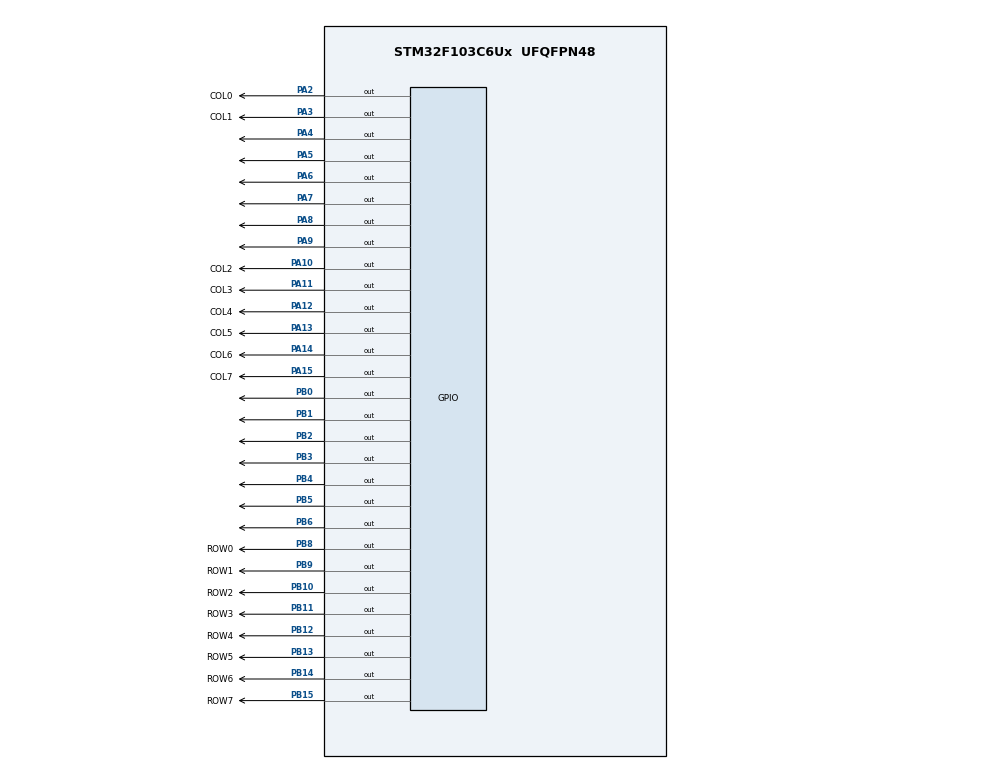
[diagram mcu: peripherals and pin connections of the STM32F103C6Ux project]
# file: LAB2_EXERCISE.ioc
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Mcu.Family=STM32F1
Mcu.Name=STM32F103C6Ux
Mcu.Package=UFQFPN48
NVIC.PriorityGroup=NVIC_PRIORITYGROUP_4
NVIC.TIM2_IRQn=true\:0\:0\:false\:false\:true\:true\:true
PA10.GPIO_Label=COL2
PA10.Signal=GPIO_Output
PA11.GPIO_Label=COL3
PA11.Signal=GPIO_Output
PA12.GPIO_Label=COL4
PA12.Signal=GPIO_Output
PA13.GPIO_Label=COL5
PA13.Signal=GPIO_Output
PA14.GPIO_Label=COL6
PA14.Signal=GPIO_Output
PA15.GPIO_Label=COL7
PA15.Signal=GPIO_Output
PA2.GPIO_Label=COL0
PA2.Signal=GPIO_Output
PA3.GPIO_Label=COL1
PA3.Signal=GPIO_Output
PA4.Signal=GPIO_Output
PA5.Signal=GPIO_Output
PA6.Signal=GPIO_Output
PA7.Signal=GPIO_Output
PA8.Signal=GPIO_Output
PA9.Signal=GPIO_Output
PB0.Signal=GPIO_Output
PB1.Signal=GPIO_Output
PB10.GPIO_Label=ROW2
PB10.Signal=GPIO_Output
PB11.GPIO_Label=ROW3
PB11.Signal=GPIO_Output
PB12.GPIO_Label=ROW4
PB12.Signal=GPIO_Output
PB13.GPIO_Label=ROW5
PB13.Signal=GPIO_Output
PB14.GPIO_Label=ROW6
PB14.Signal=GPIO_Output
PB15.GPIO_Label=ROW7
PB15.Signal=GPIO_Output
PB2.Signal=GPIO_Output
PB3.Signal=GPIO_Output
PB4.Signal=GPIO_Output
PB5.Signal=GPIO_Output
PB6.Signal=GPIO_Output
PB8.GPIO_Label=ROW0
PB8.Signal=GPIO_Output
PB9.GPIO_Label=ROW1
PB9.Signal=GPIO_Output
ProjectManager.HeapSize=0x200
ProjectManager.StackSize=0x400
ProjectManager.TargetToolchain=STM32CubeIDE
RCC.APB1Freq_Value=8000000
RCC.APB2Freq_Value=8000000
TIM2.Period=9
TIM2.Prescaler=7999
VP_SYS_VS_ND.Mode=No_Debug
VP_TIM2_VS_ClockSourceINT.Mode=Internal
board=custom

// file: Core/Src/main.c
/* USER CODE BEGIN Header */
/**
  ******************************************************************************
  * @file           : main.c
  * @brief          : Main program body
  ******************************************************************************
  * @attention
  *
  * <h2><center>&copy; Copyright (c) 2023 STMicroelectronics.
  * All rights reserved.</center></h2>
  *
  * This software component is licensed by ST under BSD 3-Clause license,
  * the "License"; You may not use this file except in compliance with the
  * License. You may obtain a copy of the License at:
  *                        opensource.org/licenses/BSD-3-Clause
  *
  ******************************************************************************
  */
/* USER CODE END Header */
#include "main.h"

/* USER CODE BEGIN Includes */
#include "7_SEGMENT_LED.h"
#include "software_timer.h"
/* USER CODE END Includes */

/* USER CODE BEGIN PD */
#define TIME 25
/* USER CODE END PD */

TIM_HandleTypeDef htim2;

void SystemClock_Config(void);
static void MX_TIM2_Init(void);
static void MX_GPIO_Init(void);
/* USER CODE BEGIN PFP */
void update7SEG(int index);
/* USER CODE END PFP */

/* USER CODE BEGIN 0 */
enum state_led {
	LED_1,
	LED_2,
	LED_3,
	LED_4
};
int hour = 15 , minute = 8 , second = 58;
const int MAX_LED = 4;
int index_led = 0;
int led_buffer[4] = {3,5,7,9};
void clear_all_segment(){
	HAL_GPIO_WritePin(GPIOA, GPIO_PIN_6, SET);
	HAL_GPIO_WritePin(GPIOA, GPIO_PIN_7, SET);
	HAL_GPIO_WritePin(GPIOA, GPIO_PIN_8, SET);
	HAL_GPIO_WritePin(GPIOA, GPIO_PIN_9, SET);
}
void update7SEG(int index){
	switch(index){
	case 0:
		HAL_GPIO_WritePin(GPIOA, GPIO_PIN_6, RESET);
		HAL_GPIO_WritePin(GPIOA, GPIO_PIN_7, SET);
		HAL_GPIO_WritePin(GPIOA, GPIO_PIN_8, SET);
		HAL_GPIO_WritePin(GPIOA, GPIO_PIN_9, SET);
		display7SEG(led_buffer[0]);
		break;
	case 1:
		HAL_GPIO_WritePin(GPIOA, GPIO_PIN_6, SET);
		HAL_GPIO_WritePin(GPIOA, GPIO_PIN_7, RESET);
		HAL_GPIO_WritePin(GPIOA, GPIO_PIN_8, SET);
		HAL_GPIO_WritePin(GPIOA, GPIO_PIN_9, SET);
		display7SEG(led_buffer[1]);
		break;
	case 2:
		HAL_GPIO_WritePin(GPIOA, GPIO_PIN_6, SET);
		HAL_GPIO_WritePin(GPIOA, GPIO_PIN_7, SET);
		HAL_GPIO_WritePin(GPIOA, GPIO_PIN_8, RESET);
		HAL_GPIO_WritePin(GPIOA, GPIO_PIN_9, SET);
		display7SEG(led_buffer[2]);
		break;
	case 3:
		HAL_GPIO_WritePin(GPIOA, GPIO_PIN_6, SET);
		HAL_GPIO_WritePin(GPIOA, GPIO_PIN_7, SET);
		HAL_GPIO_WritePin(GPIOA, GPIO_PIN_8, SET);
		HAL_GPIO_WritePin(GPIOA, GPIO_PIN_9, RESET);
		display7SEG(led_buffer[3]);
		break;
	}
}
void updateClockBufer(){
	led_buffer[0] = hour/10;
	led_buffer[1] = hour%10;
	led_buffer[2] = minute/10;
	led_buffer[3] = minute%10;
}

const int MAX_LED_MATRIX = 8;
int index_led_matrix = 0;
uint8_t matrix_buffer[] = {0x00, 0xff, 0xff, 0x18, 0x18, 0xff, 0xff, 0x00,   // H
							0x00, 0x7e, 0xff, 0x81, 0x81, 0xff, 0x7e, 0x00,  // O
							0x00, 0xfc, 0xfe, 0x33, 0x33, 0xfe, 0xfc, 0x00,  // A
							0x00, 0xff, 0x03, 0x0c, 0x30, 0xc0, 0xff, 0x00,  // N
							0x00, 0x7e, 0xff, 0x81, 0x81, 0x91, 0xf3, 0x73   // G
};
// INIT LED 8x8
struct led8x8* led;
// INIT lED 8x8

/* USER CODE END 0 */

int main(void)
{

  /* MCU Configuration--------------------------------------------------------*/

  /* Reset of all peripherals, Initializes the Flash interface and the Systick. */
  HAL_Init();

  /* Configure the system clock */
  SystemClock_Config();

  /* Initialize all configured peripherals */
  MX_TIM2_Init();
  MX_GPIO_Init();
  /* USER CODE BEGIN 2 */
  HAL_TIM_Base_Start_IT(&htim2);
  //enum state_led current_sate = LED_1;
  set_timer(TIME);
  set_timer_8(10);
  clear_all_segment();
  int toggle_counter = 5;
  //INIT 8x8 lED
  init_led8x8(led , COL0_Pin, COL1_Pin, COL2_Pin, COL3_Pin, COL4_Pin, COL5_Pin, COL6_Pin, COL7_Pin,
		  ROW0_Pin, ROW1_Pin, ROW2_Pin, ROW3_Pin, ROW4_Pin, ROW5_Pin, ROW6_Pin, ROW7_Pin,
		  GPIOA, GPIOB,
		  matrix_buffer,
		  sizeof(matrix_buffer)/sizeof(uint8_t));

  /* USER CODE END 2 */

  /* Infinite loop */
  /* USER CODE BEGIN WHILE */
  while (1)
  {
	  if(flag){
		  updateClockBufer();
		  set_timer(TIME);
		  update7SEG(index_led++);
		  index_led = index_led % 4;
		  toggle_counter--;
		  if(toggle_counter <= 0){
			  second++;
			  if(second >= 60){
				  second = 0;
				  minute++;
			  }
			  if(minute >= 60){
				  minute = 0;
				  hour++;
			  }
			  if(hour >= 24){
				  hour = 0;
			  }
			  HAL_GPIO_TogglePin(GPIOA , GPIO_PIN_4);
			  toggle_counter=4;
		  }
		  HAL_GPIO_TogglePin(GPIOA , GPIO_PIN_5);
	  }
	  if(flag_8){
		  updateLEDMatrix(led);
		  if(led->index_led_matrix >= MAX_LED_MATRIX){
			  led->index_led_matrix = 0;
			  updateCurBuffer(led);
		  }
		  set_timer_8(1);
	  }
    /* USER CODE END WHILE */

  }
}

void SystemClock_Config(void)
{
  RCC_OscInitTypeDef RCC_OscInitStruct = {0};
  RCC_ClkInitTypeDef RCC_ClkInitStruct = {0};

  /** Initializes the RCC Oscillators according to the specified parameters
  * in the RCC_OscInitTypeDef structure.
  */
  RCC_OscInitStruct.OscillatorType = RCC_OSCILLATORTYPE_HSI;
  RCC_OscInitStruct.HSIState = RCC_HSI_ON;
  RCC_OscInitStruct.HSICalibrationValue = RCC_HSICALIBRATION_DEFAULT;
  RCC_OscInitStruct.PLL.PLLState = RCC_PLL_NONE;
  if (HAL_RCC_OscConfig(&RCC_OscInitStruct) != HAL_OK)
  {
    Error_Handler();
  }
  /** Initializes the CPU, AHB and APB buses clocks
  */
  RCC_ClkInitStruct.ClockType = RCC_CLOCKTYPE_HCLK|RCC_CLOCKTYPE_SYSCLK
                              |RCC_CLOCKTYPE_PCLK1|RCC_CLOCKTYPE_PCLK2;
  RCC_ClkInitStruct.SYSCLKSource = RCC_SYSCLKSOURCE_HSI;
  RCC_ClkInitStruct.AHBCLKDivider = RCC_SYSCLK_DIV1;
  RCC_ClkInitStruct.APB1CLKDivider = RCC_HCLK_DIV1;
  RCC_ClkInitStruct.APB2CLKDivider = RCC_HCLK_DIV1;

  if (HAL_RCC_ClockConfig(&RCC_ClkInitStruct, FLASH_LATENCY_0) != HAL_OK)
  {
    Error_Handler();
  }
}

static void MX_TIM2_Init(void)
{

  TIM_ClockConfigTypeDef sClockSourceConfig = {0};
  TIM_MasterConfigTypeDef sMasterConfig = {0};

  htim2.Instance = TIM2;
  htim2.Init.Prescaler = 7999;
  htim2.Init.CounterMode = TIM_COUNTERMODE_UP;
  htim2.Init.Period = 9;
  htim2.Init.ClockDivision = TIM_CLOCKDIVISION_DIV1;
  htim2.Init.AutoReloadPreload = TIM_AUTORELOAD_PRELOAD_DISABLE;
  if (HAL_TIM_Base_Init(&htim2) != HAL_OK)
  {
    Error_Handler();
  }
  sClockSourceConfig.ClockSource = TIM_CLOCKSOURCE_INTERNAL;
  if (HAL_TIM_ConfigClockSource(&htim2, &sClockSourceConfig) != HAL_OK)
  {
    Error_Handler();
  }
  sMasterConfig.MasterOutputTrigger = TIM_TRGO_RESET;
  sMasterConfig.MasterSlaveMode = TIM_MASTERSLAVEMODE_DISABLE;
  if (HAL_TIMEx_MasterConfigSynchronization(&htim2, &sMasterConfig) != HAL_OK)
  {
    Error_Handler();
  }

}

static void MX_GPIO_Init(void)
{
  GPIO_InitTypeDef GPIO_InitStruct = {0};

  /* GPIO Ports Clock Enable */
  __HAL_RCC_GPIOA_CLK_ENABLE();
  __HAL_RCC_GPIOB_CLK_ENABLE();

  /*Configure GPIO pin Output Level */
  HAL_GPIO_WritePin(GPIOA, COL0_Pin|COL1_Pin|GPIO_PIN_4|GPIO_PIN_5
                          |GPIO_PIN_6|GPIO_PIN_7|GPIO_PIN_8|GPIO_PIN_9
                          |COL2_Pin|COL3_Pin|COL4_Pin|COL5_Pin
                          |COL6_Pin|COL7_Pin, GPIO_PIN_RESET);

  /*Configure GPIO pin Output Level */
  HAL_GPIO_WritePin(GPIOB, GPIO_PIN_0|GPIO_PIN_1|GPIO_PIN_2|ROW2_Pin
                          |ROW3_Pin|ROW4_Pin|ROW5_Pin|ROW6_Pin
                          |ROW7_Pin|GPIO_PIN_3|GPIO_PIN_4|GPIO_PIN_5
                          |GPIO_PIN_6|ROW0_Pin|ROW1_Pin, GPIO_PIN_RESET);

  /*Configure GPIO pins : COL0_Pin COL1_Pin PA4 PA5
                           PA6 PA7 PA8 PA9
                           COL2_Pin COL3_Pin COL4_Pin COL5_Pin
                           COL6_Pin COL7_Pin */
  GPIO_InitStruct.Pin = COL0_Pin|COL1_Pin|GPIO_PIN_4|GPIO_PIN_5
                          |GPIO_PIN_6|GPIO_PIN_7|GPIO_PIN_8|GPIO_PIN_9
                          |COL2_Pin|COL3_Pin|COL4_Pin|COL5_Pin
                          |COL6_Pin|COL7_Pin;
  GPIO_InitStruct.Mode = GPIO_MODE_OUTPUT_PP;
  GPIO_InitStruct.Pull = GPIO_NOPULL;
  GPIO_InitStruct.Speed = GPIO_SPEED_FREQ_LOW;
  HAL_GPIO_Init(GPIOA, &GPIO_InitStruct);

  /*Configure GPIO pins : PB0 PB1 PB2 ROW2_Pin
                           ROW3_Pin ROW4_Pin ROW5_Pin ROW6_Pin
                           ROW7_Pin PB3 PB4 PB5
                           PB6 ROW0_Pin ROW1_Pin */
  GPIO_InitStruct.Pin = GPIO_PIN_0|GPIO_PIN_1|GPIO_PIN_2|ROW2_Pin
                          |ROW3_Pin|ROW4_Pin|ROW5_Pin|ROW6_Pin
                          |ROW7_Pin|GPIO_PIN_3|GPIO_PIN_4|GPIO_PIN_5
                          |GPIO_PIN_6|ROW0_Pin|ROW1_Pin;
  GPIO_InitStruct.Mode = GPIO_MODE_OUTPUT_PP;
  GPIO_InitStruct.Pull = GPIO_NOPULL;
  GPIO_InitStruct.Speed = GPIO_SPEED_FREQ_LOW;
  HAL_GPIO_Init(GPIOB, &GPIO_InitStruct);

}

/* USER CODE BEGIN 4 */
void HAL_TIM_PeriodElapsedCallback(TIM_HandleTypeDef* htim){
	timer_run();
}
/* USER CODE END 4 */

void Error_Handler(void)
{
  __disable_irq();
  while (1)
  {
  }
}

/************************ (C) COPYRIGHT STMicroelectronics *****END OF FILE****/
